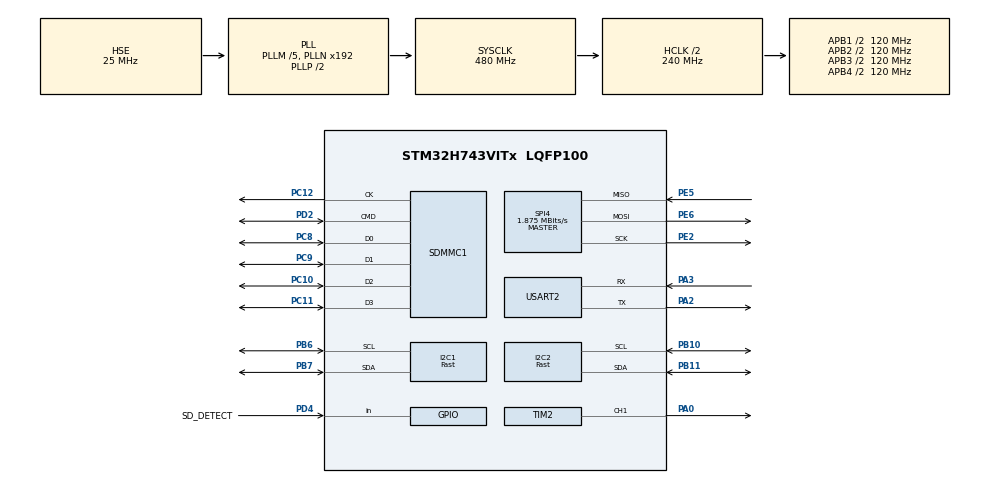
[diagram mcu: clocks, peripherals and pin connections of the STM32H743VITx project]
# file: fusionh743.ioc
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CORTEX_M7.default_mode_Activation=1
Dma.Request0=SPI4_RX
Dma.Request1=SPI4_TX
Dma.SPI4_RX.0.Direction=DMA_PERIPH_TO_MEMORY
Dma.SPI4_RX.0.EventEnable=DISABLE
Dma.SPI4_RX.0.FIFOMode=DMA_FIFOMODE_DISABLE
Dma.SPI4_RX.0.Instance=DMA2_Stream0
Dma.SPI4_RX.0.MemDataAlignment=DMA_MDATAALIGN_BYTE
Dma.SPI4_RX.0.MemInc=DMA_MINC_ENABLE
Dma.SPI4_RX.0.Mode=DMA_NORMAL
Dma.SPI4_RX.0.PeriphDataAlignment=DMA_PDATAALIGN_BYTE
Dma.SPI4_RX.0.PeriphInc=DMA_PINC_DISABLE
Dma.SPI4_RX.0.Polarity=HAL_DMAMUX_REQ_GEN_RISING
Dma.SPI4_RX.0.Priority=DMA_PRIORITY_HIGH
Dma.SPI4_RX.0.RequestNumber=1
Dma.SPI4_RX.0.SignalID=NONE
Dma.SPI4_RX.0.SyncEnable=DISABLE
Dma.SPI4_RX.0.SyncPolarity=HAL_DMAMUX_SYNC_NO_EVENT
Dma.SPI4_RX.0.SyncRequestNumber=1
Dma.SPI4_RX.0.SyncSignalID=NONE
Dma.SPI4_TX.1.Direction=DMA_MEMORY_TO_PERIPH
Dma.SPI4_TX.1.EventEnable=DISABLE
Dma.SPI4_TX.1.FIFOMode=DMA_FIFOMODE_DISABLE
Dma.SPI4_TX.1.Instance=DMA2_Stream1
Dma.SPI4_TX.1.MemDataAlignment=DMA_MDATAALIGN_BYTE
Dma.SPI4_TX.1.MemInc=DMA_MINC_ENABLE
Dma.SPI4_TX.1.Mode=DMA_NORMAL
Dma.SPI4_TX.1.PeriphDataAlignment=DMA_PDATAALIGN_BYTE
Dma.SPI4_TX.1.PeriphInc=DMA_PINC_DISABLE
Dma.SPI4_TX.1.Polarity=HAL_DMAMUX_REQ_GEN_RISING
Dma.SPI4_TX.1.Priority=DMA_PRIORITY_MEDIUM
Dma.SPI4_TX.1.RequestNumber=1
Dma.SPI4_TX.1.SignalID=NONE
Dma.SPI4_TX.1.SyncEnable=DISABLE
Dma.SPI4_TX.1.SyncPolarity=HAL_DMAMUX_SYNC_NO_EVENT
Dma.SPI4_TX.1.SyncRequestNumber=1
Dma.SPI4_TX.1.SyncSignalID=NONE
FATFS.BSP.number=1
FATFS._FS_NORTC=1
FATFS0.BSP.STBoard=false
FATFS0.BSP.api=Unknown
FATFS0.BSP.instance=PD4
FATFS0.BSP.ip=GPIO
FATFS0.BSP.mode=Input
FATFS0.BSP.name=Detect_SDIO
FATFS0.BSP.solution=PD4
I2C1.I2C_Fall_Time=300
I2C1.I2C_Rise_Time=300
I2C1.I2C_Speed_Mode=I2C_Fast
I2C1.Timing=0x30B70F24
I2C2.I2C_Speed_Mode=I2C_Fast
I2C2.Timing=0x00B03FDB
Mcu.Family=STM32H7
Mcu.Name=STM32H743VITx
Mcu.Package=LQFP100
NVIC.DMA2_Stream0_IRQn=true\:5\:0\:true\:false\:true\:false\:true\:true
NVIC.DMA2_Stream1_IRQn=true\:6\:0\:true\:false\:true\:false\:true\:true
NVIC.PriorityGroup=NVIC_PRIORITYGROUP_4
NVIC.SDMMC1_IRQn=true\:6\:0\:true\:false\:true\:true\:true\:true
NVIC.SPI4_IRQn=true\:7\:0\:true\:false\:true\:false\:true\:true
PA0.Signal=S_TIM2_CH1_ETR
PA2.Mode=Asynchronous
PA2.Signal=USART2_TX
PA3.Mode=Asynchronous
PA3.Signal=USART2_RX
PB10.GPIO_Speed=GPIO_SPEED_FREQ_HIGH
PB10.Mode=I2C
PB10.Signal=I2C2_SCL
PB11.GPIO_Speed=GPIO_SPEED_FREQ_HIGH
PB11.Mode=I2C
PB11.Signal=I2C2_SDA
PB6.GPIO_Mode=GPIO_MODE_AF_OD
PB6.GPIO_Pu=GPIO_NOPULL
PB6.GPIO_Speed=GPIO_SPEED_FREQ_HIGH
PB6.Mode=I2C
PB6.Signal=I2C1_SCL
PB7.GPIO_Mode=GPIO_MODE_AF_OD
PB7.GPIO_Pu=GPIO_NOPULL
PB7.GPIO_Speed=GPIO_SPEED_FREQ_HIGH
PB7.Mode=I2C
PB7.Signal=I2C1_SDA
PC10.Mode=SD_4_bits_Wide_bus
PC10.Signal=SDMMC1_D2
PC11.Mode=SD_4_bits_Wide_bus
PC11.Signal=SDMMC1_D3
PC12.Mode=SD_4_bits_Wide_bus
PC12.Signal=SDMMC1_CK
PC8.Mode=SD_4_bits_Wide_bus
PC8.Signal=SDMMC1_D0
PC9.Mode=SD_4_bits_Wide_bus
PC9.Signal=SDMMC1_D1
PD2.Mode=SD_4_bits_Wide_bus
PD2.Signal=SDMMC1_CMD
PD4.GPIO_Label=SD_DETECT
PD4.GPIO_PuPd=GPIO_PULLUP
PD4.Signal=GPIO_Input
PE2.Mode=Full_Duplex_Master
PE2.Signal=SPI4_SCK
PE5.Mode=Full_Duplex_Master
PE5.Signal=SPI4_MISO
PE6.Mode=Full_Duplex_Master
PE6.Signal=SPI4_MOSI
PH0-OSC_IN\ (PH0).Mode=HSE-External-Oscillator
PH0-OSC_IN\ (PH0).Signal=RCC_OSC_IN
PH1-OSC_OUT\ (PH1).Mode=HSE-External-Oscillator
PH1-OSC_OUT\ (PH1).Signal=RCC_OSC_OUT
ProjectManager.HeapSize=0x1000
ProjectManager.StackSize=0x4000
ProjectManager.TargetToolchain=STM32CubeIDE
RCC.ADCFreq_Value=50390625
RCC.APB1Freq_Value=120000000
RCC.APB2Freq_Value=120000000
RCC.APB3Freq_Value=120000000
RCC.APB4Freq_Value=120000000
RCC.CortexFreq_Value=480000000
RCC.D1PPRE=RCC_APB3_DIV2
RCC.D2PPRE1=RCC_APB1_DIV2
RCC.D2PPRE2=RCC_APB2_DIV2
RCC.D3PPRE=RCC_APB4_DIV2
RCC.DIVM1=5
RCC.DIVN1=192
RCC.DIVQ1=5
RCC.HCLKFreq_Value=240000000
RCC.HPRE=RCC_HCLK_DIV2
RCC.PLL2FRACN=0
RCC.PLL3FRACN=0
RCC.PLLFRACN=0
RCC.PLLSourceVirtual=RCC_PLLSOURCE_HSE
RCC.SYSCLKFreq_VALUE=480000000
RCC.SYSCLKSource=RCC_SYSCLKSOURCE_PLLCLK
RCC.USBFreq_Value=192000000
SDMMC1.ClockDiv=4
SDMMC1.HardwareFlowControl=SDMMC_HARDWARE_FLOW_CONTROL_ENABLE
SH.S_TIM2_CH1_ETR.0=TIM2_CH1,PWM Generation1 CH1
SPI4.BaudRatePrescaler=SPI_BAUDRATEPRESCALER_64
SPI4.CLKPhase=SPI_PHASE_2EDGE
SPI4.CLKPolarity=SPI_POLARITY_HIGH
SPI4.CalculateBaudRate=1.875 MBits/s
SPI4.DataSize=SPI_DATASIZE_8BIT
SPI4.Direction=SPI_DIRECTION_2LINES
SPI4.Mode=SPI_MODE_MASTER
SPI4.NSSPMode=SPI_NSS_PULSE_DISABLE
SPI4.VirtualType=VM_MASTER
TIM2.AutoReloadPreload=TIM_AUTORELOAD_PRELOAD_ENABLE
TIM2.Channel-PWM\ Generation1\ CH1=TIM_CHANNEL_1
TIM2.Period=3029
TIM2.Prescaler=239
TIM2.Pulse-PWM\ Generation1\ CH1=1520
USART2.VirtualMode-Asynchronous=VM_ASYNC
VP_FATFS_VS_SDIO.Mode=SDIO
VP_MEMORYMAP_VS_MEMORYMAP.Mode=CurAppReg
VP_TIM2_VS_ClockSourceINT.Mode=Internal
board=custom

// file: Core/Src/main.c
/* USER CODE BEGIN Header */
/**
  ******************************************************************************
  * @file           : main.c
  * @brief          : Main program body
  ******************************************************************************
  * @attention
  *
  * Copyright (c) 2026 STMicroelectronics.
  * All rights reserved.
  *
  * This software is licensed under terms that can be found in the LICENSE file
  * in the root directory of this software component.
  * If no LICENSE file comes with this software, it is provided AS-IS.
  *
  ******************************************************************************
  */
/* USER CODE END Header */
#include "main.h"
#include "fatfs.h"

/* USER CODE BEGIN Includes */
#include <stdio.h>
#include <string.h>
#include <math.h>
//#include "MS5607SPI.h"
#include "lsm6dso32.h"
#include "Kalman2State.h"
#include "ao_flight.h"
#include "airbrake_app.h"
#include "mpl3115a2.h"
/* USER CODE END Includes */

/* USER CODE BEGIN PTD */
typedef struct {
    uint32_t timestamp;
    int32_t  pressure_pa;
    double   temperature_c;
    double   altitude_m;
    float    servo_deg;
    float    accel_x_mss;
    float    accel_y_mss;
    float    accel_z_mss;
    float    gyro_x_rads;
    float    gyro_y_rads;
    float    gyro_z_rads;
    float    imu_temp_c;
    /* Kalman filter outputs — logged alongside raw sensors for validation */
    float    kf_altitude_m;   /* fused altitude, AGL [m]    */
    float    kf_velocity_ms;  /* fused vertical velocity [m/s], positive = up */
} BundleData_t;
/* USER CODE END PTD */

/* USER CODE BEGIN PD */
// commanded degree value.  Centre should always stay at 1520 µs.
// Start with the values below and increase/decrease by ~50 µs steps.       */
#define SERVO_MIN_US   560   /* pulse width (µs) that produces physical  0° */
#define SERVO_MAX_US  2460   /* pulse width (µs) that produces physical 180° (estimated: symmetric around 1520 µs center) */

/* 100 Hz fixed output rate.  MPL_OSR_1 conversion time is ~6 ms, so a
 * 10 ms gate always finds a fresh sample with ~4 ms to spare.            */
#define SAMPLE_PERIOD_MS   10u

/* USER CODE END PD */

I2C_HandleTypeDef hi2c1;
I2C_HandleTypeDef hi2c2;

SD_HandleTypeDef hsd1;

SPI_HandleTypeDef hspi4;
DMA_HandleTypeDef hdma_spi4_rx;
DMA_HandleTypeDef hdma_spi4_tx;

TIM_HandleTypeDef htim2;

UART_HandleTypeDef huart2;

/* USER CODE BEGIN PV */
volatile BundleData_t liveTelemetry = {0};
char uartTxBuffer[200];   /* 200 bytes: original 12 cols (~85 chars) + 2 KF cols + margin */

/* 32-byte aligned: SDMMC IDMA bypasses D-Cache and reads directly from SRAM.
   FatFs's internal sector buffer (fs->win) lives inside SDFatFs — aligning it
   ensures SCB_CleanDCache covers the correct cache lines before IDMA reads. */
__attribute__((aligned(32))) FATFS SDFatFs;
__attribute__((aligned(32))) FIL   LogFile;
__attribute__((aligned(32))) char  sdWriteBuffer[200];
uint8_t sdReady = 0;

/* Kalman filter instance — passed by pointer to ao_flight_update() every sample.
 * ao_ground_height and ao_ground_accel are now owned by ao_flight.c.           */
Kalman2State kf;

//i2c baro (I2C1)
MPL3115A2_t baro;
//i2c imu (I2C2)
LSM6DSO32_t imu;
/* USER CODE END PV */

void SystemClock_Config(void);
static void MPU_Config(void);
static void MX_GPIO_Init(void);
static void MX_DMA_Init(void);
static void MX_USART2_UART_Init(void);
static void MX_I2C1_Init(void);
static void MX_TIM2_Init(void);
static void MX_SDMMC1_SD_Init(void);
static void MX_SPI4_Init(void);
static void MX_I2C2_Init(void);

/* USER CODE BEGIN 0 */
static uint32_t servoDegToUs(float deg)
{
    return (uint32_t)(SERVO_MIN_US + (deg / 180.0f) * (SERVO_MAX_US - SERVO_MIN_US));
}

static void servoSetAngle(float deg)
{
    __HAL_TIM_SET_COMPARE(&htim2, TIM_CHANNEL_1, servoDegToUs(deg));
}
/* USER CODE END 0 */

int main(void)
{

  /* MPU Configuration--------------------------------------------------------*/
  MPU_Config();

  /* MCU Configuration--------------------------------------------------------*/

  /* Reset of all peripherals, Initializes the Flash interface and the Systick. */
  HAL_Init();

  /* Configure the system clock */
  SystemClock_Config();

  /* Initialize all configured peripherals */
  MX_GPIO_Init();
  MX_DMA_Init();
  MX_USART2_UART_Init();
  MX_I2C1_Init();
  MX_TIM2_Init();
  MX_SDMMC1_SD_Init();
  MX_FATFS_Init();
  MX_SPI4_Init();
  MX_I2C2_Init();
  /* USER CODE BEGIN 2 */
  //servo init
  HAL_TIM_PWM_Start(&htim2, TIM_CHANNEL_1);

  /* Give I2C sensors time to reach operational state after power-up. */
  HAL_Delay(50);

  /* ── Barometer init (MPL3115A2, I2C1) ──────────────────────────────────── */
  {
      char dbg[56];
      HAL_UART_Transmit(&huart2, (uint8_t *)"Baro init...\r\n", 14, HAL_MAX_DELAY);
      MPL_Status r = MPL3115A2_Init(&baro, &hi2c1, MPL_MODE_BAROMETER, MPL_OSR_1);
      if (r != MPL_OK) {
          /* code 1=I2C bus fault (address/wiring), 2=wrong WHO_AM_I */
          int n = snprintf(dbg, sizeof(dbg), "BARO FAIL code=%d\r\n", (int)r);
          HAL_UART_Transmit(&huart2, (uint8_t *)dbg, (uint16_t)n, HAL_MAX_DELAY);
          Error_Handler();
      }
      HAL_UART_Transmit(&huart2, (uint8_t *)"Baro OK\r\n", 9, HAL_MAX_DELAY);
  }

  /* ── IMU init (LSM6DSO32, I2C2) ────────────────────────────────────────── */
  /* Default address 0x6B (SA0/SDO → VDD on Adafruit breakout).
   * If FAIL code=1, try LSM6DSO32_ADDR_6A (SA0 → GND).                     */
  {
      char dbg[56];
      HAL_UART_Transmit(&huart2, (uint8_t *)"IMU init...\r\n", 13, HAL_MAX_DELAY);
      LSM6_Status r = LSM6DSO32_Init(&imu, &hi2c2, LSM6DSO32_ADDR_6A,
                                      LSM6_ODR_104HZ, LSM6_FS_XL_32G, LSM6_FS_G_2000DPS);
      if (r != LSM6_OK) {
          /* code 1=I2C bus fault (address/wiring/I2C2 config), 2=wrong WHO_AM_I */
          int n = snprintf(dbg, sizeof(dbg), "IMU FAIL code=%d\r\n", (int)r);
          HAL_UART_Transmit(&huart2, (uint8_t *)dbg, (uint16_t)n, HAL_MAX_DELAY);
          Error_Handler();
      }
      HAL_UART_Transmit(&huart2, (uint8_t *)"IMU OK\r\n", 8, HAL_MAX_DELAY);
  }
  //UART header — two KF columns added at the end (backward compatible: old parsers ignore them)
  const char *uartHeader = "timestamp_ms,pressure_pa,temperature_c,altitude_m,servo_deg,"
                            "ax_mss,ay_mss,az_mss,gx_rads,gy_rads,gz_rads,imu_temp_c,"
                            "kf_altitude_m,kf_velocity_ms\r\n";
  HAL_UART_Transmit(&huart2, (uint8_t *)uartHeader, (uint16_t)strlen(uartHeader), HAL_MAX_DELAY);

  //sd init — 500ms lets SDMMC card finish power-up before f_mount
  {
       FRESULT fres;
       char sdDbg[48];
       int  dbgLen;

       fres = f_mount(&SDFatFs, "", 1);
       dbgLen = snprintf(sdDbg, sizeof(sdDbg), "SD mount: %d\r\n", (int)fres);
       HAL_UART_Transmit(&huart2, (uint8_t *)sdDbg, (uint16_t)dbgLen, HAL_MAX_DELAY);

       if (fres == FR_OK) {
           fres = f_open(&LogFile, "FLIGHT01.CSV", FA_OPEN_ALWAYS | FA_WRITE | FA_READ);
           dbgLen = snprintf(sdDbg, sizeof(sdDbg), "SD open: %d\r\n", (int)fres);
           HAL_UART_Transmit(&huart2, (uint8_t *)sdDbg, (uint16_t)dbgLen, HAL_MAX_DELAY);

           if (fres == FR_OK) {
               f_lseek(&LogFile, f_size(&LogFile));
               if (f_size(&LogFile) == 0) {
                   const char *hdr = "timestamp_ms,pressure_pa,temperature_c,altitude_m,servo_deg,"
                                      "ax_mss,ay_mss,az_mss,gx_rads,gy_rads,gz_rads,imu_temp_c,"
                                      "kf_altitude_m,kf_velocity_ms\r\n";
                   UINT bw;
                   f_write(&LogFile, hdr, strlen(hdr), &bw);
                   f_sync(&LogFile);
               }
               sdReady = 1;
               HAL_UART_Transmit(&huart2, (uint8_t *)"SD ready\r\n", 10, HAL_MAX_DELAY);
           }
       }
   }

  /* Initialise the flight state machine.
   * Calibration now happens non-blockingly inside ao_flight_update() during the
   * AO_FLIGHT_STARTUP state — no blocking loop here.                           */
  ao_flight_init();
  HAL_UART_Transmit(&huart2, (uint8_t *)"State: STARTUP — collecting pad samples...\r\n", 44, HAL_MAX_DELAY);

  /* USER CODE END 2 */

  /* Infinite loop */
  while (1)
  {

    /* USER CODE BEGIN 3 */

      static uint32_t next_tick    = 0;   /* fixed-rate gate deadline         */
      static uint32_t prev_ts      = 0;   /* previous sample tick for dt      */
      static float    servoPos     = 0.0f;
      static float    servoDir     = 1.0f;
      static uint32_t servoTick    = 0;
      static uint8_t  syncCount    = 0;

      /* ── Fixed 100 Hz gate ───────────────────────────────────────────────── */
      uint32_t now = HAL_GetTick();
      if (now < next_tick) continue;
      next_tick = now + SAMPLE_PERIOD_MS;

      /* Timestamp locked to gate open — uniform 10 ms spacing in the log. */
      liveTelemetry.timestamp = now;

      /* ── Barometer (MPL3115A2, I2C) ──────────────────────────────────────── */
      {
          uint8_t baro_rdy = 0;
          float pa, tc;
          MPL3115A2_DataReady(&baro, &baro_rdy);
          if (baro_rdy && MPL3115A2_ReadPressure(&baro, &pa, &tc) == MPL_OK) {
              liveTelemetry.pressure_pa   = (int32_t)pa;
              liveTelemetry.temperature_c = tc;
              liveTelemetry.altitude_m    = MPL3115A2_AltitudeFromPressure(pa);
          }
          /* Not ready: previous values repeat. At OSR_1 (~6 ms) with a 10 ms
           * gate there is ~4 ms margin; should not occur at steady state.    */
      }

      /* ── IMU (LSM6DSO32, I2C2) ──────────────────────────────────────────── */
      if (LSM6DSO32_Update(&imu) == LSM6_OK) {
          liveTelemetry.accel_x_mss = imu.accel_x_mss;
          liveTelemetry.accel_y_mss = imu.accel_y_mss;
          liveTelemetry.accel_z_mss = imu.accel_z_mss;
          liveTelemetry.gyro_x_rads = imu.gyro_x_rads;
          liveTelemetry.gyro_y_rads = imu.gyro_y_rads;
          liveTelemetry.gyro_z_rads = imu.gyro_z_rads;
          liveTelemetry.imu_temp_c  = imu.temp_c;
      }

      /* ── Flight state machine + Kalman filter ───────────────────────────── */
      {
          ao_flight_state_t prev_state = ao_flight_state;

          float dt = (prev_ts > 0) ? (float)(now - prev_ts) / 1000.0f : 0.0f;
          prev_ts = now;

          ao_flight_update(&kf,
                           liveTelemetry.accel_z_mss,
                           dt,
                           (float)liveTelemetry.altitude_m);

          if (ao_flight_state == AO_FLIGHT_STARTUP) {
              liveTelemetry.kf_altitude_m  = 0.0f;
              liveTelemetry.kf_velocity_ms = 0.0f;
          } else {
              liveTelemetry.kf_altitude_m  = Kalman2State_Altitude(&kf);
              liveTelemetry.kf_velocity_ms = Kalman2State_Velocity(&kf);
          }

          {
              static uint32_t prev_rejects = 0;
              if (ao_cal_reject_count != prev_rejects) {
                  prev_rejects = ao_cal_reject_count;
                  char w[64];
                  int wn = snprintf(w, sizeof(w),
                                    "WARN: cal rejected (#%lu) — retrying\r\n",
                                    (unsigned long)ao_cal_reject_count);
                  HAL_UART_Transmit(&huart2, (uint8_t *)w, (uint16_t)wn, HAL_MAX_DELAY);
              }
          }

          if (prev_state != ao_flight_state) {
              switch (ao_flight_state) {
              case AO_FLIGHT_PAD: {
                  char msg[80];
                  int n = snprintf(msg, sizeof(msg),
                                   "State: PAD  h0=%.2fm  g=%.4fm/s2\r\n",
                                   (double)ao_ground_height,
                                   (double)ao_ground_accel);
                  HAL_UART_Transmit(&huart2, (uint8_t *)msg, (uint16_t)n, HAL_MAX_DELAY);
                  break;
              }
              case AO_FLIGHT_BOOST:
                  HAL_UART_Transmit(&huart2, (uint8_t *)"State: BOOST\r\n", 14, HAL_MAX_DELAY);
                  break;
              default: break;
              }
          }
      }

      /* ── UART — every sample (10 Hz, within 115200 baud budget) ─────────── */
      {
          int len = snprintf(uartTxBuffer, sizeof(uartTxBuffer),
                             "%lu,%ld,%.2f,%.2f,%.2f,%.3f,%.3f,%.3f,%.4f,%.4f,%.4f,%.2f,%.3f,%.4f\r\n",
                             liveTelemetry.timestamp,
                             liveTelemetry.pressure_pa,
                             liveTelemetry.temperature_c,
                             liveTelemetry.altitude_m,
                             (double)liveTelemetry.servo_deg,
                             (double)liveTelemetry.accel_x_mss,
                             (double)liveTelemetry.accel_y_mss,
                             (double)liveTelemetry.accel_z_mss,
                             (double)liveTelemetry.gyro_x_rads,
                             (double)liveTelemetry.gyro_y_rads,
                             (double)liveTelemetry.gyro_z_rads,
                             (double)liveTelemetry.imu_temp_c,
                             (double)liveTelemetry.kf_altitude_m,
                             (double)liveTelemetry.kf_velocity_ms);
          if (len > 0) {
              HAL_UART_Transmit(&huart2, (uint8_t *)uartTxBuffer, (uint16_t)len, HAL_MAX_DELAY);
          }
      }

      /* ── SD — one row per unique tick; sync every 10 rows ───────────────── */
      /* Guard against f_sync stalls: if sync takes >10 ms the gate has
       * already expired when we return.  last_sd_ts prevents a duplicate
       * row being written on the catch-up iteration with the same 'now'.  */
      static uint32_t last_sd_ts = UINT32_MAX;
      if (sdReady && now != last_sd_ts) {
          last_sd_ts = now;
          UINT bw;
          int sdLen = snprintf(sdWriteBuffer, sizeof(sdWriteBuffer),
                               "%lu,%ld,%.2f,%.2f,%.2f,%.3f,%.3f,%.3f,%.4f,%.4f,%.4f,%.2f,%.3f,%.4f\r\n",
                               liveTelemetry.timestamp,
                               liveTelemetry.pressure_pa,
                               liveTelemetry.temperature_c,
                               liveTelemetry.altitude_m,
                               (double)liveTelemetry.servo_deg,
                               (double)liveTelemetry.accel_x_mss,
                               (double)liveTelemetry.accel_y_mss,
                               (double)liveTelemetry.accel_z_mss,
                               (double)liveTelemetry.gyro_x_rads,
                               (double)liveTelemetry.gyro_y_rads,
                               (double)liveTelemetry.gyro_z_rads,
                               (double)liveTelemetry.imu_temp_c,
                               (double)liveTelemetry.kf_altitude_m,
                               (double)liveTelemetry.kf_velocity_ms);
          if (sdLen > 0) {
              f_write(&LogFile, sdWriteBuffer, (UINT)sdLen, &bw);
              if (++syncCount >= 10) {
                  f_sync(&LogFile);
                  syncCount = 0;
              }
          }
      }

      /* ── Servo sweep — independent 150 ms cadence ───────────────────────── */
      if (now - servoTick >= 150) {
          servoTick = now;
          const float servoMin = 27.0f, servoMax = 140.0f;
          const float step     = (servoMax - servoMin) / 40.0f;
          servoPos += servoDir * step;
          if (servoPos >= servoMax) { servoPos = servoMax; servoDir = -1.0f; }
          if (servoPos <= servoMin) { servoPos = servoMin; servoDir =  1.0f; }
          liveTelemetry.servo_deg = servoPos;
          servoSetAngle(servoPos);
      }
  }

  /* USER CODE END 3 */
}

void SystemClock_Config(void)
{
  RCC_OscInitTypeDef RCC_OscInitStruct = {0};
  RCC_ClkInitTypeDef RCC_ClkInitStruct = {0};

  /** Supply configuration update enable
  */
  HAL_PWREx_ConfigSupply(PWR_LDO_SUPPLY);

  /** Configure the main internal regulator output voltage
  */
  __HAL_PWR_VOLTAGESCALING_CONFIG(PWR_REGULATOR_VOLTAGE_SCALE0);

  while(!__HAL_PWR_GET_FLAG(PWR_FLAG_VOSRDY)) {}

  /** Initializes the RCC Oscillators according to the specified parameters
  * in the RCC_OscInitTypeDef structure.
  */
  RCC_OscInitStruct.OscillatorType = RCC_OSCILLATORTYPE_HSE;
  RCC_OscInitStruct.HSEState = RCC_HSE_ON;
  RCC_OscInitStruct.PLL.PLLState = RCC_PLL_ON;
  RCC_OscInitStruct.PLL.PLLSource = RCC_PLLSOURCE_HSE;
  RCC_OscInitStruct.PLL.PLLM = 5;
  RCC_OscInitStruct.PLL.PLLN = 192;
  RCC_OscInitStruct.PLL.PLLP = 2;
  RCC_OscInitStruct.PLL.PLLQ = 5;
  RCC_OscInitStruct.PLL.PLLR = 2;
  RCC_OscInitStruct.PLL.PLLRGE = RCC_PLL1VCIRANGE_2;
  RCC_OscInitStruct.PLL.PLLVCOSEL = RCC_PLL1VCOWIDE;
  RCC_OscInitStruct.PLL.PLLFRACN = 0;
  if (HAL_RCC_OscConfig(&RCC_OscInitStruct) != HAL_OK)
  {
    Error_Handler();
  }

  /** Initializes the CPU, AHB and APB buses clocks
  */
  RCC_ClkInitStruct.ClockType = RCC_CLOCKTYPE_HCLK|RCC_CLOCKTYPE_SYSCLK
                              |RCC_CLOCKTYPE_PCLK1|RCC_CLOCKTYPE_PCLK2
                              |RCC_CLOCKTYPE_D3PCLK1|RCC_CLOCKTYPE_D1PCLK1;
  RCC_ClkInitStruct.SYSCLKSource = RCC_SYSCLKSOURCE_PLLCLK;
  RCC_ClkInitStruct.SYSCLKDivider = RCC_SYSCLK_DIV1;
  RCC_ClkInitStruct.AHBCLKDivider = RCC_HCLK_DIV2;
  RCC_ClkInitStruct.APB3CLKDivider = RCC_APB3_DIV2;
  RCC_ClkInitStruct.APB1CLKDivider = RCC_APB1_DIV2;
  RCC_ClkInitStruct.APB2CLKDivider = RCC_APB2_DIV2;
  RCC_ClkInitStruct.APB4CLKDivider = RCC_APB4_DIV2;

  if (HAL_RCC_ClockConfig(&RCC_ClkInitStruct, FLASH_LATENCY_4) != HAL_OK)
  {
    Error_Handler();
  }
}

static void MX_I2C1_Init(void)
{

  hi2c1.Instance = I2C1;
  hi2c1.Init.Timing = 0x30B70F24;
  hi2c1.Init.OwnAddress1 = 0;
  hi2c1.Init.AddressingMode = I2C_ADDRESSINGMODE_7BIT;
  hi2c1.Init.DualAddressMode = I2C_DUALADDRESS_DISABLE;
  hi2c1.Init.OwnAddress2 = 0;
  hi2c1.Init.OwnAddress2Masks = I2C_OA2_NOMASK;
  hi2c1.Init.GeneralCallMode = I2C_GENERALCALL_DISABLE;
  hi2c1.Init.NoStretchMode = I2C_NOSTRETCH_DISABLE;
  if (HAL_I2C_Init(&hi2c1) != HAL_OK)
  {
    Error_Handler();
  }

  /** Configure Analogue filter
  */
  if (HAL_I2CEx_ConfigAnalogFilter(&hi2c1, I2C_ANALOGFILTER_ENABLE) != HAL_OK)
  {
    Error_Handler();
  }

  /** Configure Digital filter
  */
  if (HAL_I2CEx_ConfigDigitalFilter(&hi2c1, 0) != HAL_OK)
  {
    Error_Handler();
  }

}

static void MX_I2C2_Init(void)
{

  hi2c2.Instance = I2C2;
  hi2c2.Init.Timing = 0x00B03FDB;
  hi2c2.Init.OwnAddress1 = 0;
  hi2c2.Init.AddressingMode = I2C_ADDRESSINGMODE_7BIT;
  hi2c2.Init.DualAddressMode = I2C_DUALADDRESS_DISABLE;
  hi2c2.Init.OwnAddress2 = 0;
  hi2c2.Init.OwnAddress2Masks = I2C_OA2_NOMASK;
  hi2c2.Init.GeneralCallMode = I2C_GENERALCALL_DISABLE;
  hi2c2.Init.NoStretchMode = I2C_NOSTRETCH_DISABLE;
  if (HAL_I2C_Init(&hi2c2) != HAL_OK)
  {
    Error_Handler();
  }

  /** Configure Analogue filter
  */
  if (HAL_I2CEx_ConfigAnalogFilter(&hi2c2, I2C_ANALOGFILTER_ENABLE) != HAL_OK)
  {
    Error_Handler();
  }

  /** Configure Digital filter
  */
  if (HAL_I2CEx_ConfigDigitalFilter(&hi2c2, 0) != HAL_OK)
  {
    Error_Handler();
  }

}

static void MX_SDMMC1_SD_Init(void)
{

  hsd1.Instance = SDMMC1;
  hsd1.Init.ClockEdge = SDMMC_CLOCK_EDGE_RISING;
  hsd1.Init.ClockPowerSave = SDMMC_CLOCK_POWER_SAVE_DISABLE;
  hsd1.Init.BusWide = SDMMC_BUS_WIDE_4B;
  hsd1.Init.HardwareFlowControl = SDMMC_HARDWARE_FLOW_CONTROL_ENABLE;
  hsd1.Init.ClockDiv = 4;
  if (HAL_SD_Init(&hsd1) != HAL_OK)
  {
    Error_Handler();
  }

}

static void MX_SPI4_Init(void)
{

  /* SPI4 parameter configuration*/
  hspi4.Instance = SPI4;
  hspi4.Init.Mode = SPI_MODE_MASTER;
  hspi4.Init.Direction = SPI_DIRECTION_2LINES;
  hspi4.Init.DataSize = SPI_DATASIZE_8BIT;
  hspi4.Init.CLKPolarity = SPI_POLARITY_HIGH;
  hspi4.Init.CLKPhase = SPI_PHASE_2EDGE;
  hspi4.Init.NSS = SPI_NSS_SOFT;
  hspi4.Init.BaudRatePrescaler = SPI_BAUDRATEPRESCALER_64;
  hspi4.Init.FirstBit = SPI_FIRSTBIT_MSB;
  hspi4.Init.TIMode = SPI_TIMODE_DISABLE;
  hspi4.Init.CRCCalculation = SPI_CRCCALCULATION_DISABLE;
  hspi4.Init.CRCPolynomial = 0x0;
  hspi4.Init.NSSPMode = SPI_NSS_PULSE_DISABLE;
  hspi4.Init.NSSPolarity = SPI_NSS_POLARITY_LOW;
  hspi4.Init.FifoThreshold = SPI_FIFO_THRESHOLD_01DATA;
  hspi4.Init.TxCRCInitializationPattern = SPI_CRC_INITIALIZATION_ALL_ZERO_PATTERN;
  hspi4.Init.RxCRCInitializationPattern = SPI_CRC_INITIALIZATION_ALL_ZERO_PATTERN;
  hspi4.Init.MasterSSIdleness = SPI_MASTER_SS_IDLENESS_00CYCLE;
  hspi4.Init.MasterInterDataIdleness = SPI_MASTER_INTERDATA_IDLENESS_00CYCLE;
  hspi4.Init.MasterReceiverAutoSusp = SPI_MASTER_RX_AUTOSUSP_DISABLE;
  hspi4.Init.MasterKeepIOState = SPI_MASTER_KEEP_IO_STATE_DISABLE;
  hspi4.Init.IOSwap = SPI_IO_SWAP_DISABLE;
  if (HAL_SPI_Init(&hspi4) != HAL_OK)
  {
    Error_Handler();
  }

}

static void MX_TIM2_Init(void)
{

  TIM_ClockConfigTypeDef sClockSourceConfig = {0};
  TIM_MasterConfigTypeDef sMasterConfig = {0};
  TIM_OC_InitTypeDef sConfigOC = {0};

  htim2.Instance = TIM2;
  htim2.Init.Prescaler = 239;
  htim2.Init.CounterMode = TIM_COUNTERMODE_UP;
  htim2.Init.Period = 3029;
  htim2.Init.ClockDivision = TIM_CLOCKDIVISION_DIV1;
  htim2.Init.AutoReloadPreload = TIM_AUTORELOAD_PRELOAD_ENABLE;
  if (HAL_TIM_Base_Init(&htim2) != HAL_OK)
  {
    Error_Handler();
  }
  sClockSourceConfig.ClockSource = TIM_CLOCKSOURCE_INTERNAL;
  if (HAL_TIM_ConfigClockSource(&htim2, &sClockSourceConfig) != HAL_OK)
  {
    Error_Handler();
  }
  if (HAL_TIM_PWM_Init(&htim2) != HAL_OK)
  {
    Error_Handler();
  }
  sMasterConfig.MasterOutputTrigger = TIM_TRGO_RESET;
  sMasterConfig.MasterSlaveMode = TIM_MASTERSLAVEMODE_DISABLE;
  if (HAL_TIMEx_MasterConfigSynchronization(&htim2, &sMasterConfig) != HAL_OK)
  {
    Error_Handler();
  }
  sConfigOC.OCMode = TIM_OCMODE_PWM1;
  sConfigOC.Pulse = 1520;
  sConfigOC.OCPolarity = TIM_OCPOLARITY_HIGH;
  sConfigOC.OCFastMode = TIM_OCFAST_DISABLE;
  if (HAL_TIM_PWM_ConfigChannel(&htim2, &sConfigOC, TIM_CHANNEL_1) != HAL_OK)
  {
    Error_Handler();
  }
  HAL_TIM_MspPostInit(&htim2);

}

static void MX_USART2_UART_Init(void)
{

  huart2.Instance = USART2;
  huart2.Init.BaudRate = 115200;
  huart2.Init.WordLength = UART_WORDLENGTH_8B;
  huart2.Init.StopBits = UART_STOPBITS_1;
  huart2.Init.Parity = UART_PARITY_NONE;
  huart2.Init.Mode = UART_MODE_TX_RX;
  huart2.Init.HwFlowCtl = UART_HWCONTROL_NONE;
  huart2.Init.OverSampling = UART_OVERSAMPLING_16;
  huart2.Init.OneBitSampling = UART_ONE_BIT_SAMPLE_DISABLE;
  huart2.Init.ClockPrescaler = UART_PRESCALER_DIV1;
  huart2.AdvancedInit.AdvFeatureInit = UART_ADVFEATURE_NO_INIT;
  if (HAL_UART_Init(&huart2) != HAL_OK)
  {
    Error_Handler();
  }
  if (HAL_UARTEx_SetTxFifoThreshold(&huart2, UART_TXFIFO_THRESHOLD_1_8) != HAL_OK)
  {
    Error_Handler();
  }
  if (HAL_UARTEx_SetRxFifoThreshold(&huart2, UART_RXFIFO_THRESHOLD_1_8) != HAL_OK)
  {
    Error_Handler();
  }
  if (HAL_UARTEx_DisableFifoMode(&huart2) != HAL_OK)
  {
    Error_Handler();
  }

}

static void MX_DMA_Init(void)
{

  /* DMA controller clock enable */
  __HAL_RCC_DMA2_CLK_ENABLE();

  /* DMA interrupt init */
  /* DMA2_Stream0_IRQn interrupt configuration */
  HAL_NVIC_SetPriority(DMA2_Stream0_IRQn, 5, 0);
  HAL_NVIC_EnableIRQ(DMA2_Stream0_IRQn);
  /* DMA2_Stream1_IRQn interrupt configuration */
  HAL_NVIC_SetPriority(DMA2_Stream1_IRQn, 6, 0);
  HAL_NVIC_EnableIRQ(DMA2_Stream1_IRQn);

}

static void MX_GPIO_Init(void)
{
  GPIO_InitTypeDef GPIO_InitStruct = {0};

  /* GPIO Ports Clock Enable */
  __HAL_RCC_GPIOE_CLK_ENABLE();
  __HAL_RCC_GPIOH_CLK_ENABLE();
  __HAL_RCC_GPIOA_CLK_ENABLE();
  __HAL_RCC_GPIOB_CLK_ENABLE();
  __HAL_RCC_GPIOC_CLK_ENABLE();
  __HAL_RCC_GPIOD_CLK_ENABLE();

  /*Configure GPIO pin : SD_DETECT_Pin */
  GPIO_InitStruct.Pin = SD_DETECT_Pin;
  GPIO_InitStruct.Mode = GPIO_MODE_INPUT;
  GPIO_InitStruct.Pull = GPIO_PULLUP;
  HAL_GPIO_Init(SD_DETECT_GPIO_Port, &GPIO_InitStruct);

}

 /* MPU Configuration */

void MPU_Config(void)
{
  MPU_Region_InitTypeDef MPU_InitStruct = {0};

  /* Disables the MPU */
  HAL_MPU_Disable();

  /** Initializes and configures the Region and the memory to be protected
  */
  MPU_InitStruct.Enable = MPU_REGION_ENABLE;
  MPU_InitStruct.Number = MPU_REGION_NUMBER0;
  MPU_InitStruct.BaseAddress = 0x0;
  MPU_InitStruct.Size = MPU_REGION_SIZE_4GB;
  MPU_InitStruct.SubRegionDisable = 0x87;
  MPU_InitStruct.TypeExtField = MPU_TEX_LEVEL0;
  MPU_InitStruct.AccessPermission = MPU_REGION_NO_ACCESS;
  MPU_InitStruct.DisableExec = MPU_INSTRUCTION_ACCESS_DISABLE;
  MPU_InitStruct.IsShareable = MPU_ACCESS_SHAREABLE;
  MPU_InitStruct.IsCacheable = MPU_ACCESS_NOT_CACHEABLE;
  MPU_InitStruct.IsBufferable = MPU_ACCESS_NOT_BUFFERABLE;

  HAL_MPU_ConfigRegion(&MPU_InitStruct);
  /* Enables the MPU */
  HAL_MPU_Enable(MPU_PRIVILEGED_DEFAULT);

}

void Error_Handler(void)
{
  __disable_irq();
  while (1)
  {
  }
}
